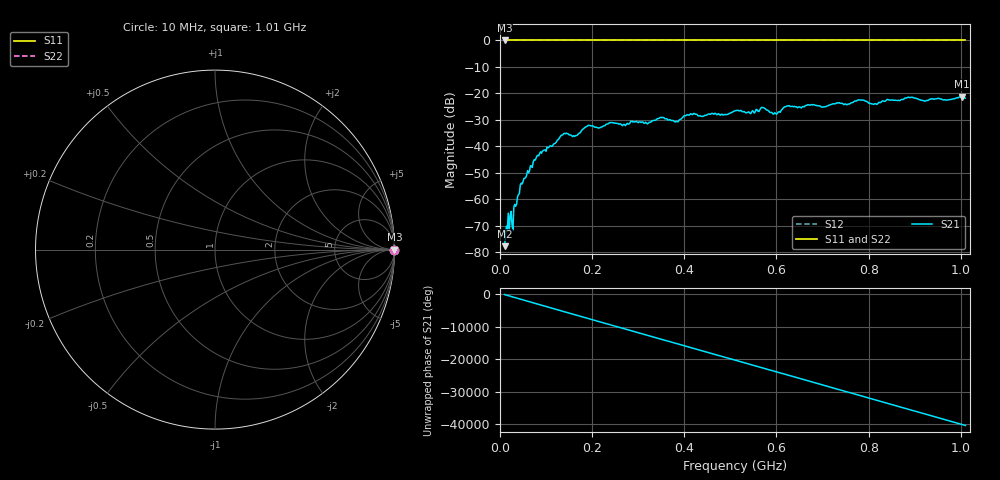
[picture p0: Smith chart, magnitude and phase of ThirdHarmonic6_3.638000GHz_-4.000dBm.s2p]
! 8/17/2025 12:12:59 PM
! C:\ANRITSUVNA\TEMP\TEMP.S2P
! CHANNEL.1
! TR.MEASUREMENT
! RAW.DATA
! RF.CORRECTION.OFF
! AVERAGING.OFF
! IF.BANDWIDTH: 5KHZ
! SWEEPTYPE:  FREQ.SWEEP(Linear)
! Reference Plane Port Info
! PORT:  PORT1  PORT2
! DISTANCE:  0  m  0  m
! TIME:  0  s  0  s
! PHASE.OFFSET:  0  deg.  0  deg.
! LOSS:  0  dB  0  dB
! REF.LOSS:  0  dB  0  dB
! REF.FREQ:  0  Hz  0  Hz
! Power Info
! POWER:  -20  dBm  -20  dBm
! EFF.POWER:  -20  dBm  -20  dBm
! SOURCE.ATTEN:  0  dB  0  dB
! TEST.ATTEN:  0  dB  0  dB
# GHZ S RI R 50.0
! FREQ.GHZ  S11RE  S11IM  S21RE  S21IM  S12RE  S12IM  S22RE  S22IM
!; PortSelection: Port_12
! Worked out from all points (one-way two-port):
!   501 points, 10 MHz to 1.01 GHz, reference 50 ohm
!   highest |S21| = -21.18 dB at 1.002 GHz (marker M1); lowest = -77.7 dB at 10 MHz (marker M2)
!   lowest |S11| = 0.0 dB at 10 MHz (marker M3)
!   |S11| at or under -10 dB: nowhere
!   |S22| runs from 0.0 to 0.0 dB; largest |S21 - S12| = 1.1
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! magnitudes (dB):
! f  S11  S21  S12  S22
! 10 MHz  0.0  -77.7  0.0  0.0
! 20 MHz  0.0  -72.0  0.0  0.0
! 24 MHz  0.0  -64.6  0.0  0.0
! 30 MHz  0.0  -63.1  0.0  0.0
! 34 MHz  0.0  -62.7  0.0  0.0
! 48 MHz  0.0  -54.2  0.0  0.0
! 78 MHz  0.0  -44.6  0.0  0.0
! 136 MHz  0.0  -35.7  0.0  0.0
! 162 MHz  0.0  -36.2  0.0  0.0
! 178 MHz  0.0  -33.8  0.0  0.0
! 192 MHz  0.0  -32.1  0.0  0.0
! 344 MHz  0.0  -29.5  0.0  0.0
! 382 MHz  0.0  -30.6  0.0  0.0
! 410 MHz  0.0  -28.2  0.0  0.0
! 510 MHz  0.0  -26.6  0.0  0.0
! 570 MHz  0.0  -25.3  0.0  0.0
! 596 MHz  0.0  -27.3  0.0  0.0
! 622 MHz  0.0  -24.8  0.0  0.0
! 678 MHz  0.0  -24.3  0.0  0.0
! 844 MHz  0.0  -22.5  0.0  0.0
! 1.002 GHz  0.0  -21.2  0.0  0.0
! 1.01 GHz  0.0  -21.8  0.0  0.0
